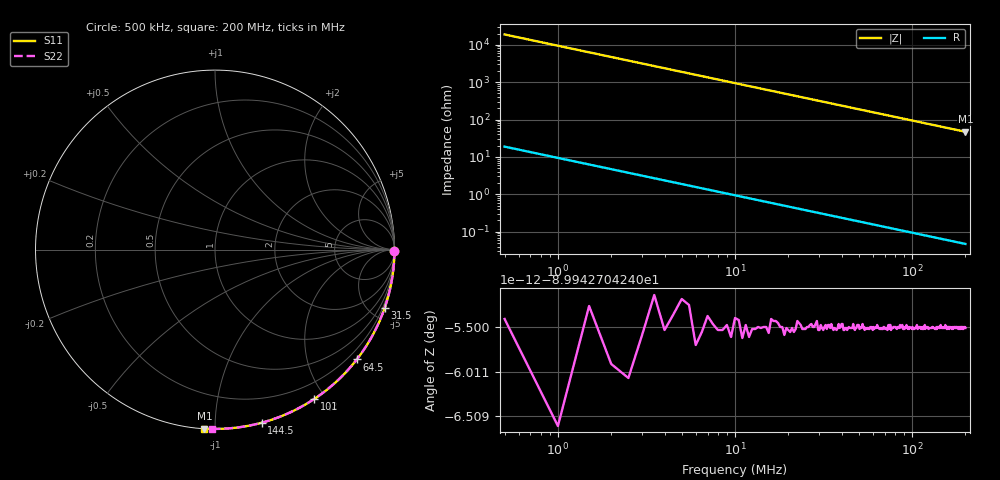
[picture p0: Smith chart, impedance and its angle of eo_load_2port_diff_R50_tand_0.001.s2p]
! Created with skrf 2.0.1 (http://scikit-rf.org).
# Hz S RI R 50.0
!freq ReS11 ImS11 ReS21 ImS21 ReS12 ImS12 ReS22 ImS22
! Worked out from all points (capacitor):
!   400 points, 500 kHz to 200 MHz, reference 50 ohm
!   read as one part to ground: C = 16.9 pF near 1.5 MHz
!   lowest |Z| = 47.1 ohm at 200 MHz (marker M1)
!   S11 on the Smith chart (normalised r, x): 500 kHz: open; 31.5 MHz: 0.01, -5.99; 64.5 MHz: 0.00, -2.92; 101 MHz: 0.00, -1.87; 144.5 MHz: 0.00, -1.31; 200 MHz: 0.00, -0.94
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500000  1 -0.0053  2.67e-19 4.31e-17  2.74e-19 4.43e-17  1 -0.00508
8000000  0.9963 -0.0847  5.78e-17 6.87e-16  5.94e-17 7.05e-16  0.9966 -0.0812
1.6e7  0.9855 -0.1685  2.28e-16 1.35e-15  2.34e-16 1.39e-15  0.9867 -0.1616
2.35e7  0.9692 -0.2454  4.82e-16 1.94e-15  4.95e-16 1.99e-15  0.9716 -0.2355
3.15e7  0.9454 -0.3249  8.46e-16 2.51e-15  8.68e-16 2.57e-15  0.9497 -0.3121
3.4e7  0.9367 -0.3491  9.76e-16 2.67e-15  1e-15 2.74e-15  0.9417 -0.3355
4.85e7  0.8755 -0.4822  1.87e-15 3.46e-15  1.92e-15 3.55e-15  0.885 -0.4646
5.65e7  0.8348 -0.5496  2.43e-15 3.77e-15  2.49e-15 3.87e-15  0.8472 -0.5303
6.45e7  0.79 -0.6121  3.02e-15 3.99e-15  3.09e-15 4.1e-15  0.8054 -0.5917
6.7e7  0.7753 -0.6306  3.2e-15 4.04e-15  3.29e-15 4.14e-15  0.7917 -0.61
7.55e7  0.7232 -0.6896  3.84e-15 4.14e-15  3.94e-15 4.25e-15  0.7428 -0.6685
8.35e7  0.6716 -0.7399  4.43e-15 4.14e-15  4.54e-15 4.25e-15  0.6942 -0.7188
9.2e7  0.615 -0.7875  5.03e-15 4.05e-15  5.16e-15 4.16e-15  0.6406 -0.7668
1.005e8  0.5571 -0.8294  5.59e-15 3.89e-15  5.74e-15 3.99e-15  0.5856 -0.8096
1.01e8  0.5537 -0.8317  5.62e-15 3.88e-15  5.77e-15 3.98e-15  0.5824 -0.8119
1.17e8  0.4437 -0.8952  6.54e-15 3.39e-15  6.71e-15 3.48e-15  0.477 -0.8779
1.335e8  0.332 -0.9423  7.28e-15 2.72e-15  7.47e-15 2.8e-15  0.3691 -0.9284
1.445e8  0.2598 -0.9647  7.65e-15 2.23e-15  7.85e-15 2.29e-15  0.2989 -0.9533
1.555e8  0.1903 -0.9807  7.93e-15 1.71e-15  8.14e-15 1.75e-15  0.2308 -0.972
1.67e8  0.1208 -0.9917  8.13e-15 1.16e-15  8.35e-15 1.19e-15  0.1623 -0.9857
1.83e8  0.03 -0.9986  8.28e-15 4.23e-16  8.5e-15 4.35e-16  0.0722 -0.9964
2e8  -0.0587 -0.9973  8.29e-15 -3.12e-16  8.51e-15 -3.2e-16  -0.0164 -0.9989
